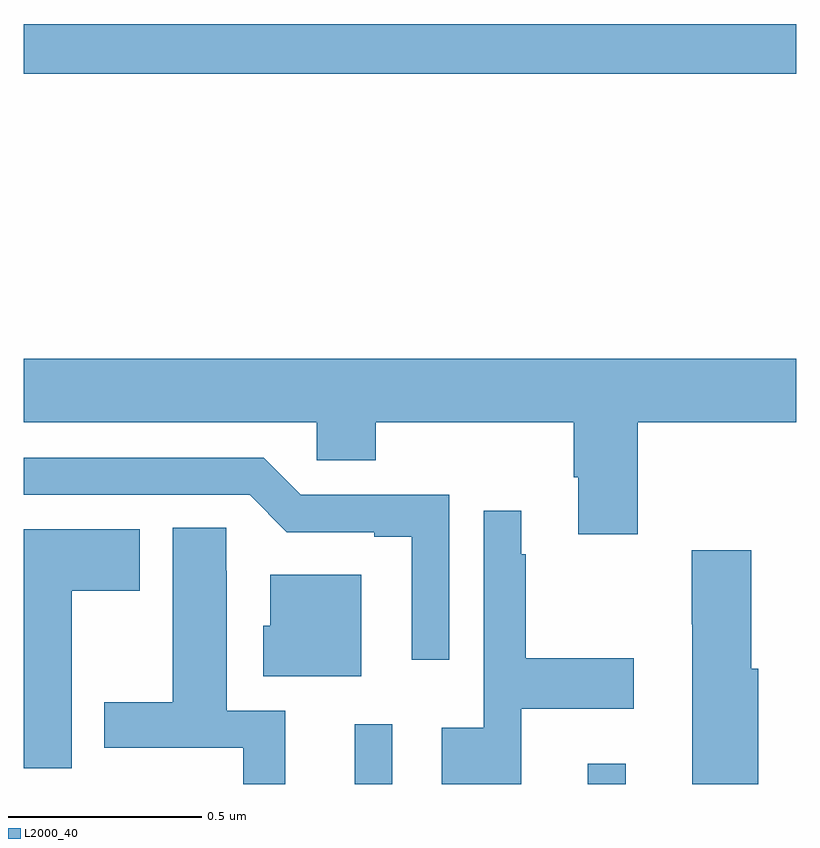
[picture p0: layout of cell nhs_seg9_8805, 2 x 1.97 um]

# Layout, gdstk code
import gdstk
lib = gdstk.Library(unit=1e-6, precision=1e-09)
def R(c, l, rs):  # rectangles x0, y0, x1, y1
    for r in rs: c.add(gdstk.rectangle(r[:2], r[2:], *l))
def P(c, l, *ps):  # polygons
    for p in ps: c.add(gdstk.Polygon(p, *l))
L2000_40 = (2000, 40)

nhs_seg9_8805 = lib.new_cell('nhs_seg9_8805')
R(nhs_seg9_8805, L2000_40, [(222.857,1179.5,222.954,1179.655), (223.46,1179.5,223.558,1179.553), (222,1181.338,224,1181.467)])
P(nhs_seg9_8805, L2000_40, [(223.589,1180.436),(224,1180.436),(224,1180.6),(222,1180.6),(222,1180.436),(222.759,1180.436),(222.759,1180.338),(222.911,1180.338),(222.911,1180.436),(223.424,1180.436),(223.424,1180.294),(223.436,1180.294),(223.436,1180.146),(223.589,1180.146)],
  [(223.101,1180.248),(222.717,1180.248),(222.621,1180.344),(222,1180.344),(222,1180.248),(222.585,1180.248),(222.681,1180.152),(222.908,1180.152),(222.908,1180.14),(223.004,1180.14),(223.004,1179.822),(223.101,1179.822)],
  [(223.288,1179.695),(223.579,1179.695),(223.579,1179.825),(223.3,1179.825),(223.3,1180.094),(223.288,1180.094),(223.288,1180.207),(223.191,1180.207),(223.191,1179.646),(223.082,1179.646),(223.082,1179.5),(223.288,1179.5)],
  [(222.677,1179.69),(222.526,1179.69),(222.526,1180.052),(222.525,1180.052),(222.525,1180.163),(222.386,1180.163),(222.386,1179.711),(222.209,1179.711),(222.209,1179.594),(222.568,1179.594),(222.568,1179.5),(222.677,1179.5)],
  [(222.124,1180),(222.301,1180),(222.301,1180.159),(222,1180.159),(222,1179.541),(222.124,1179.541)],
  [(223.901,1179.798),(223.883,1179.798),(223.883,1180.105),(223.729,1180.105),(223.729,1179.913),(223.73,1179.913),(223.73,1179.5),(223.901,1179.5)],
  [(222.874,1180.042),(222.638,1180.042),(222.638,1179.909),(222.62,1179.909),(222.62,1179.779),(222.874,1179.779)])

lib.write_gds('nhs_seg9_8805.gds')
